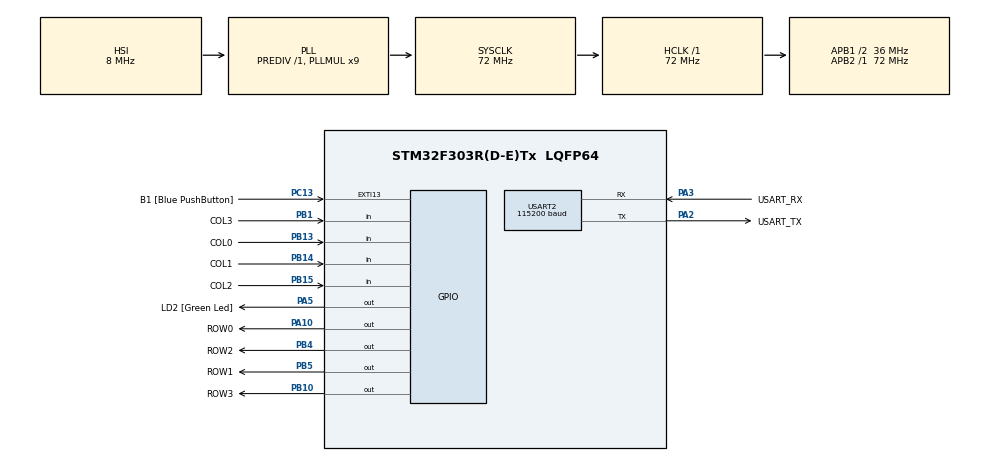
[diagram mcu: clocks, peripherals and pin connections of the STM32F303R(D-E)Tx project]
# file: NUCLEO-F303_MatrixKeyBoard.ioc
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Mcu.Family=STM32F3
Mcu.Name=STM32F303R(D-E)Tx
Mcu.Package=LQFP64
NVIC.PriorityGroup=NVIC_PRIORITYGROUP_0
PA10.GPIO_Label=ROW0
PA10.GPIO_ModeDefaultOutputPP=GPIO_MODE_OUTPUT_OD
PA10.GPIO_PuPd=GPIO_NOPULL
PA10.Signal=GPIO_Output
PA13.GPIO_Label=TMS
PA13.Mode=Serial_Wire
PA13.Signal=SYS_JTMS-SWDIO
PA14.GPIO_Label=TCK
PA14.Mode=Serial_Wire
PA14.Signal=SYS_JTCK-SWCLK
PA2.GPIO_Label=USART_TX
PA2.GPIO_Mode=GPIO_MODE_AF_PP
PA2.GPIO_PuPd=GPIO_NOPULL
PA2.GPIO_Speed=GPIO_SPEED_FREQ_LOW
PA2.Mode=Asynchronous
PA2.Signal=USART2_TX
PA3.GPIO_Label=USART_RX
PA3.GPIO_Mode=GPIO_MODE_AF_PP
PA3.GPIO_PuPd=GPIO_NOPULL
PA3.GPIO_Speed=GPIO_SPEED_FREQ_LOW
PA3.Mode=Asynchronous
PA3.Signal=USART2_RX
PA5.GPIO_Label=LD2 [Green Led]
PA5.GPIO_Mode=GPIO_MODE_OUTPUT_PP
PA5.GPIO_PuPd=GPIO_NOPULL
PA5.GPIO_Speed=GPIO_SPEED_FREQ_LOW
PA5.Signal=GPIO_Output
PB1.GPIO_Label=COL3
PB1.GPIO_PuPd=GPIO_PULLUP
PB1.Signal=GPIO_Input
PB10.GPIO_Label=ROW3
PB10.GPIO_ModeDefaultOutputPP=GPIO_MODE_OUTPUT_OD
PB10.GPIO_PuPd=GPIO_NOPULL
PB10.Signal=GPIO_Output
PB13.GPIO_Label=COL0
PB13.GPIO_PuPd=GPIO_PULLUP
PB13.Signal=GPIO_Input
PB14.GPIO_Label=COL1
PB14.GPIO_PuPd=GPIO_PULLUP
PB14.Signal=GPIO_Input
PB15.GPIO_Label=COL2
PB15.GPIO_PuPd=GPIO_PULLUP
PB15.Signal=GPIO_Input
PB3.GPIO_Label=SWO
PB3.Signal=SYS_JTDO-TRACESWO
PB4.GPIO_Label=ROW2
PB4.GPIO_ModeDefaultOutputPP=GPIO_MODE_OUTPUT_OD
PB4.GPIO_PuPd=GPIO_NOPULL
PB4.Signal=GPIO_Output
PB5.GPIO_Label=ROW1
PB5.GPIO_ModeDefaultOutputPP=GPIO_MODE_OUTPUT_OD
PB5.GPIO_PuPd=GPIO_NOPULL
PB5.Signal=GPIO_Output
PC13.GPIO_Label=B1 [Blue PushButton]
PC13.GPIO_ModeDefaultEXTI=GPIO_MODE_IT_FALLING
PC13.Signal=GPXTI13
PC14-OSC32_IN.Mode=LSE-External-Oscillator
PC14-OSC32_IN.Signal=RCC_OSC32_IN
PC15-OSC32_OUT.Mode=LSE-External-Oscillator
PC15-OSC32_OUT.Signal=RCC_OSC32_OUT
PF0-OSC_IN.Mode=HSE-External-Clock-Source
PF0-OSC_IN.Signal=RCC_OSC_IN
PF1-OSC_OUT.Signal=RCC_OSC_OUT
ProjectManager.HeapSize=0x200
ProjectManager.StackSize=0x400
ProjectManager.TargetToolchain=CMake
RCC.AHBFreq_Value=72000000
RCC.APB1CLKDivider=RCC_HCLK_DIV2
RCC.APB1Freq_Value=36000000
RCC.APB1TimFreq_Value=72000000
RCC.APB2Freq_Value=72000000
RCC.APB2TimFreq_Value=72000000
RCC.CortexFreq_Value=72000000
RCC.HCLKFreq_Value=72000000
RCC.HSE_VALUE=8000000
RCC.HSI_VALUE=8000000
RCC.PLLM=8
RCC.PLLMUL=RCC_PLL_MUL9
RCC.PLLN=336
RCC.PLLP=RCC_PLLP_DIV4
RCC.PLLQ=7
RCC.RCC_PLLsource_Clock_Source_FROM_HSE=RCC_HSE_PREDIV_DIV2
RCC.SYSCLKFreq_VALUE=72000000
RCC.SYSCLKSourceVirtual=RCC_SYSCLKSOURCE_PLLCLK
RCC.USBFreq_Value=72000000
USART2.BaudRate=115200
USART2.VirtualMode-Asynchronous=VM_ASYNC
board=NUCLEO-F303RE

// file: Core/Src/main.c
/* USER CODE BEGIN Header */
/**
  ******************************************************************************
  * @file           : main.c
  * @brief          : Main program body
  ******************************************************************************
  * @attention
  *
  * Copyright (c) 2026 STMicroelectronics.
  * All rights reserved.
  *
  * This software is licensed under terms that can be found in the LICENSE file
  * in the root directory of this software component.
  * If no LICENSE file comes with this software, it is provided AS-IS.
  *
  ******************************************************************************
  */
/* USER CODE END Header */
#include "main.h"
#include "stm32f3xx_hal_gpio.h"

/* USER CODE BEGIN Includes */
#include<MatrixKeypad.h>
#include <stdio.h>
#include <stdlib.h>
#include <string.h>
/* USER CODE END Includes */

/* USER CODE BEGIN PTD */
GPIO_PortMap_HandleTypeDef my_rows[NUM_ROWS] = {
  {ROW0_GPIO_Port, ROW0_Pin},
  {ROW1_GPIO_Port, ROW1_Pin},
  {ROW2_GPIO_Port, ROW2_Pin},
  {ROW3_GPIO_Port, ROW3_Pin}
};

GPIO_PortMap_HandleTypeDef my_cols[NUM_COLS] = {
  {COL0_GPIO_Port, COL0_Pin},
  {COL1_GPIO_Port, COL1_Pin},
  {COL2_GPIO_Port, COL2_Pin},
  {COL3_GPIO_Port, COL3_Pin}
};

Keypad_HandleTypeDef keypad1;
/* USER CODE END PTD */

/* USER CODE BEGIN PD */
#define CODE_DIGITS 4
/* USER CODE END PD */

UART_HandleTypeDef huart2;

/* USER CODE BEGIN PV */
volatile _Bool iskeyPressed = 0;
/* USER CODE END PV */

void SystemClock_Config(void);
static void MX_GPIO_Init(void);
static void MX_USART2_UART_Init(void);

int main(void)
{

  /* MCU Configuration--------------------------------------------------------*/

  /* Reset of all peripherals, Initializes the Flash interface and the Systick. */
  HAL_Init();

  /* Configure the system clock */
  SystemClock_Config();

  /* Initialize all configured peripherals */
  MX_GPIO_Init();
  MX_USART2_UART_Init();
  /* USER CODE BEGIN 2 */
  Keypad_Init(&keypad1, my_rows, my_cols);
  /* USER CODE END 2 */

  /* Infinite loop */
  /* USER CODE BEGIN WHILE */
  while (1)
  {
    Keypad_Update(&keypad1);
    if (iskeyPressed)
    {
        iskeyPressed = 0;

        HAL_GPIO_TogglePin(LD2_GPIO_Port, LD2_Pin);
    }
    /* USER CODE END WHILE */

  }
}

void SystemClock_Config(void)
{
  RCC_OscInitTypeDef RCC_OscInitStruct = {0};
  RCC_ClkInitTypeDef RCC_ClkInitStruct = {0};
  RCC_PeriphCLKInitTypeDef PeriphClkInit = {0};

  /** Initializes the RCC Oscillators according to the specified parameters
  * in the RCC_OscInitTypeDef structure.
  */
  RCC_OscInitStruct.OscillatorType = RCC_OSCILLATORTYPE_HSI;
  RCC_OscInitStruct.HSIState = RCC_HSI_ON;
  RCC_OscInitStruct.HSICalibrationValue = RCC_HSICALIBRATION_DEFAULT;
  RCC_OscInitStruct.PLL.PLLState = RCC_PLL_ON;
  RCC_OscInitStruct.PLL.PLLSource = RCC_PLLSOURCE_HSI;
  RCC_OscInitStruct.PLL.PLLMUL = RCC_PLL_MUL9;
  RCC_OscInitStruct.PLL.PREDIV = RCC_PREDIV_DIV1;
  if (HAL_RCC_OscConfig(&RCC_OscInitStruct) != HAL_OK)
  {
    Error_Handler();
  }

  /** Initializes the CPU, AHB and APB buses clocks
  */
  RCC_ClkInitStruct.ClockType = RCC_CLOCKTYPE_HCLK|RCC_CLOCKTYPE_SYSCLK
                              |RCC_CLOCKTYPE_PCLK1|RCC_CLOCKTYPE_PCLK2;
  RCC_ClkInitStruct.SYSCLKSource = RCC_SYSCLKSOURCE_PLLCLK;
  RCC_ClkInitStruct.AHBCLKDivider = RCC_SYSCLK_DIV1;
  RCC_ClkInitStruct.APB1CLKDivider = RCC_HCLK_DIV2;
  RCC_ClkInitStruct.APB2CLKDivider = RCC_HCLK_DIV1;

  if (HAL_RCC_ClockConfig(&RCC_ClkInitStruct, FLASH_LATENCY_2) != HAL_OK)
  {
    Error_Handler();
  }
  PeriphClkInit.PeriphClockSelection = RCC_PERIPHCLK_USART2;
  PeriphClkInit.Usart2ClockSelection = RCC_USART2CLKSOURCE_PCLK1;
  if (HAL_RCCEx_PeriphCLKConfig(&PeriphClkInit) != HAL_OK)
  {
    Error_Handler();
  }
}

static void MX_USART2_UART_Init(void)
{

  huart2.Instance = USART2;
  huart2.Init.BaudRate = 115200;
  huart2.Init.WordLength = UART_WORDLENGTH_8B;
  huart2.Init.StopBits = UART_STOPBITS_1;
  huart2.Init.Parity = UART_PARITY_NONE;
  huart2.Init.Mode = UART_MODE_TX_RX;
  huart2.Init.HwFlowCtl = UART_HWCONTROL_NONE;
  huart2.Init.OverSampling = UART_OVERSAMPLING_16;
  huart2.Init.OneBitSampling = UART_ONE_BIT_SAMPLE_DISABLE;
  huart2.AdvancedInit.AdvFeatureInit = UART_ADVFEATURE_NO_INIT;
  if (HAL_UART_Init(&huart2) != HAL_OK)
  {
    Error_Handler();
  }

}

static void MX_GPIO_Init(void)
{
  GPIO_InitTypeDef GPIO_InitStruct = {0};

  /* GPIO Ports Clock Enable */
  __HAL_RCC_GPIOC_CLK_ENABLE();
  __HAL_RCC_GPIOF_CLK_ENABLE();
  __HAL_RCC_GPIOA_CLK_ENABLE();
  __HAL_RCC_GPIOB_CLK_ENABLE();

  /*Configure GPIO pin Output Level */
  HAL_GPIO_WritePin(GPIOA, LD2_Pin|ROW0_Pin, GPIO_PIN_RESET);

  /*Configure GPIO pin Output Level */
  HAL_GPIO_WritePin(GPIOB, ROW3_Pin|ROW2_Pin|ROW1_Pin, GPIO_PIN_RESET);

  /*Configure GPIO pin : B1_Pin */
  GPIO_InitStruct.Pin = B1_Pin;
  GPIO_InitStruct.Mode = GPIO_MODE_IT_FALLING;
  GPIO_InitStruct.Pull = GPIO_NOPULL;
  HAL_GPIO_Init(B1_GPIO_Port, &GPIO_InitStruct);

  /*Configure GPIO pin : LD2_Pin */
  GPIO_InitStruct.Pin = LD2_Pin;
  GPIO_InitStruct.Mode = GPIO_MODE_OUTPUT_PP;
  GPIO_InitStruct.Pull = GPIO_NOPULL;
  GPIO_InitStruct.Speed = GPIO_SPEED_FREQ_LOW;
  HAL_GPIO_Init(LD2_GPIO_Port, &GPIO_InitStruct);

  /*Configure GPIO pins : COL3_Pin COL0_Pin COL1_Pin COL2_Pin */
  GPIO_InitStruct.Pin = COL3_Pin|COL0_Pin|COL1_Pin|COL2_Pin;
  GPIO_InitStruct.Mode = GPIO_MODE_INPUT;
  GPIO_InitStruct.Pull = GPIO_PULLUP;
  HAL_GPIO_Init(GPIOB, &GPIO_InitStruct);

  /*Configure GPIO pins : ROW3_Pin ROW2_Pin ROW1_Pin */
  GPIO_InitStruct.Pin = ROW3_Pin|ROW2_Pin|ROW1_Pin;
  GPIO_InitStruct.Mode = GPIO_MODE_OUTPUT_OD;
  GPIO_InitStruct.Pull = GPIO_NOPULL;
  GPIO_InitStruct.Speed = GPIO_SPEED_FREQ_LOW;
  HAL_GPIO_Init(GPIOB, &GPIO_InitStruct);

  /*Configure GPIO pin : ROW0_Pin */
  GPIO_InitStruct.Pin = ROW0_Pin;
  GPIO_InitStruct.Mode = GPIO_MODE_OUTPUT_OD;
  GPIO_InitStruct.Pull = GPIO_NOPULL;
  GPIO_InitStruct.Speed = GPIO_SPEED_FREQ_LOW;
  HAL_GPIO_Init(ROW0_GPIO_Port, &GPIO_InitStruct);

}

/* USER CODE BEGIN 4 */
void Keypad_OnkeyPress(char key)
{
    if (key == 'D')
    {
        iskeyPressed = 1;
    }

}
/* USER CODE END 4 */

void Error_Handler(void)
{
  __disable_irq();
  while (1)
  {
  }
}
